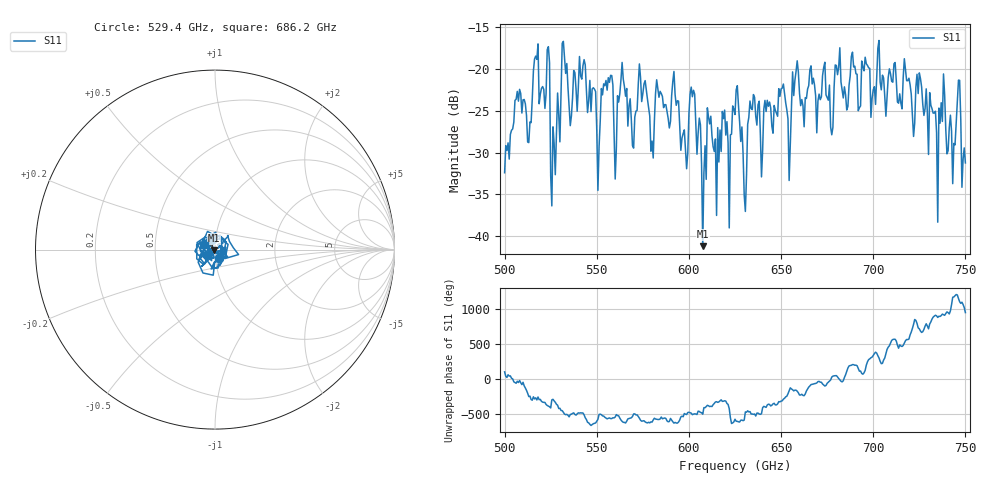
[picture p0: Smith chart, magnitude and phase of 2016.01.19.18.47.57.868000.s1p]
!Created with skrf (http://scikit-rf.org).
# GHz S RI R 50.0
!freq ReS11 ImS11
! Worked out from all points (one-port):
!   401 points, 500 GHz to 750 GHz, reference 50 ohm
!   lowest |S11| = -41.2 dB at 607.5 GHz (marker M1), VSWR 1.02, Z = 49.3 - j0.494 ohm
!   |S11| at or under -10 dB: start of sweep to end of sweep
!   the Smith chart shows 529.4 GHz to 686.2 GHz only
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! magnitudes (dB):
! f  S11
! 500 GHz  -32.4
! 506.9 GHz  -22.7
! 513.8 GHz  -26.3
! 516.9 GHz  -18.4
! 523.1 GHz  -17.7
! 526.2 GHz  -26.9
! 531.2 GHz  -16.9
! 542.5 GHz  -19.6
! 550.6 GHz  -34.5
! 562.5 GHz  -23.0
! 576.2 GHz  -21.4
! 580 GHz  -28.6
! 583.1 GHz  -22.3
! 593.8 GHz  -23.8
! 598.1 GHz  -29.7
! 601.9 GHz  -23.3
! 607.5 GHz  -41.2
! 611.2 GHz  -26.6
! 621.9 GHz  -39.0
! 625 GHz  -25.4
! 630 GHz  -35.1
! 634.4 GHz  -24.9
! 656.2 GHz  -20.3
! 687.5 GHz  -20.8
! 718.8 GHz  -21.4
! 735 GHz  -38.4
! 746.2 GHz  -21.3
! 750 GHz  -31.2
